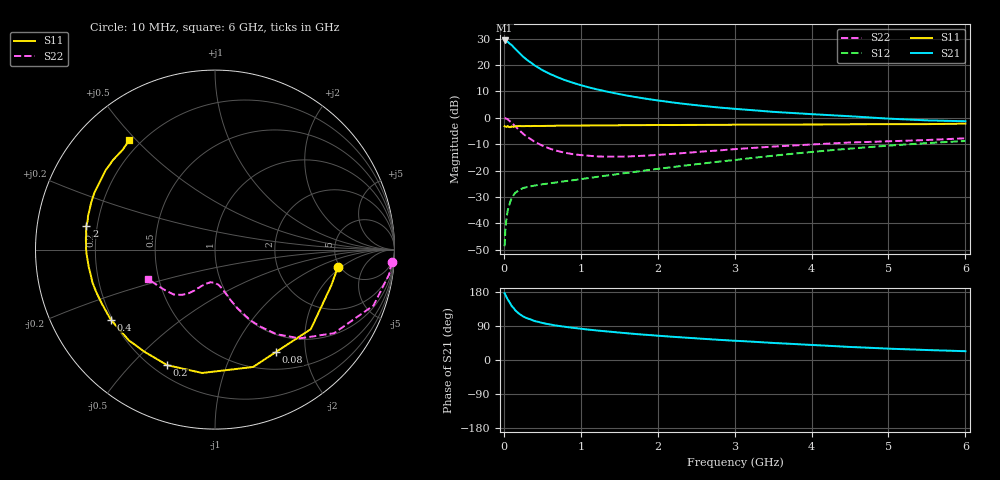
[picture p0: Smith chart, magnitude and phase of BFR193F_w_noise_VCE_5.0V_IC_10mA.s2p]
! Infineon Technologies  Discrete & RF Semiconductors
! BFR193F
! VCE =  5.0 V,  IC =  10 mA
! Common Emitter S-Parameters:  Jan 2017
# GHz  S  MA  R  50
!  f  S11  S21  S12  S22
! GHz  MAG  ANG  MAG  ANG  MAG  ANG  MAG  ANG
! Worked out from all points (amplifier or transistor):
!   77 points, 10 MHz to 6 GHz, reference 50 ohm
!   highest |S21| = 29.3 dB at 10 MHz (marker M1)
!   |S21| within 3 dB of that: start of sweep to 142.5 MHz
!   unconditionally stable (mu >= 1): 1.56 GHz to 2.876 GHz
!   at 130 MHz: K = 0.18, MSG = 27.9 dB, |S12| = -29.2 dB
!   at 2.2 GHz: K = 1.05, MAG = 10.9 dB, |S12| = -18.7 dB
!   at 6 GHz: K = 0.81, MSG = 3.7 dB, |S12| = -8.8 dB
!   lowest NFmin = 0.87 dB at 450 MHz
!   S11 on the Smith chart (normalised r, x): 10 MHz: 4.82, -1.76; 80 MHz: 0.74, -1.50; 200 MHz: 0.25, -0.64; 400 MHz: 0.19, -0.29; 2 GHz: 0.16, +0.09; 6 GHz: 0.16, +0.48
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0.01  0.6918 -7.9  29.08 176.2  0.0037 83.8  0.9865 -4.1
0.02  0.6782 -17.0  28.8 171.6  0.0077 85.7  0.9803 -8.0
0.05  0.6939 -39.7  27.52 159.9  0.0174 74.2  0.9365 -19.4
0.08  0.6639 -59.1  25.09 150.3  0.0247 63.6  0.8529 -28.3
0.1  0.6875 -72.0  23.91 143.0  0.0299 59.5  0.8104 -35.1
0.12  0.6746 -81.6  22.26 138.6  0.0331 55.6  0.7565 -39.1
0.15  0.691 -95.9  20.08 130.8  0.0381 50.9  0.6839 -46.3
0.2  0.6968 -112.5  16.93 121.8  0.0429 45.1  0.5828 -54.0
0.25  0.6917 -124.8  14.38 115.1  0.0467 41.8  0.4983 -59.5
0.3  0.6972 -133.6  12.49 110.2  0.0486 39.8  0.4378 -63.6
0.4  0.6998 -146.1  9.783 102.8  0.052 38.6  0.3504 -69.0
0.5  0.6985 -154.2  7.992 97.8  0.055 39.0  0.2962 -72.7
0.7  0.7069 -164.9  5.833 90.3  0.0601 42.0  0.2347 -78.1
0.9  0.7098 -171.7  4.585 84.9  0.0656 46.3  0.2041 -82.6
1.1  0.7138 -176.6  3.775 80.2  0.0721 49.9  0.1911 -87.3
1.5  0.7208 176.2  2.804 72.4  0.0867 56.5  0.1837 -96.1
2  0.729 169.4  2.129 64.1  0.1076 62.5  0.1979 -105.4
2.1  0.728 168.4  2.035 62.7  0.1122 63.4  0.2026 -106.8
3.1  0.7386 158.3  1.439 49.8  0.1647 69.1  0.26 -117.5
4.1  0.7455 148.5  1.149 38.7  0.2318 69.1  0.317 -127.4
5.1  0.7559 137.5  0.948 29.2  0.303 65.1  0.3625 -142.6
6  0.7742 128.0  0.858 23.2  0.3629 59.7  0.409 -156.7
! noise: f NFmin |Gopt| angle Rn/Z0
0.45  0.87  0.25  139  0.07
0.9  1  0.38  152  0.07
1.9  1.7  0.59  -176  0.06
2.4  2.05  0.63  -165  0.08
